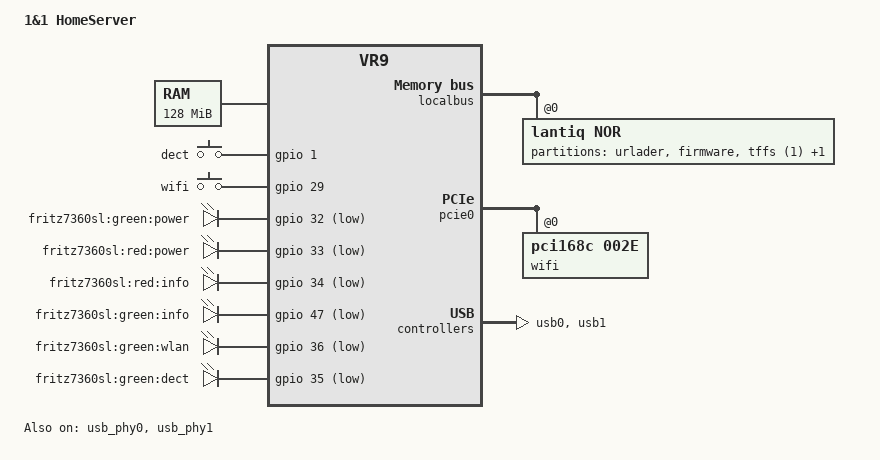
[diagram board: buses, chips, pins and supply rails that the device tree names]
/dts-v1/;

#include "vr9.dtsi"

#include <dt-bindings/input/input.h>
#include <dt-bindings/mips/lantiq_rcu_gphy.h>

/ {
	compatible = "avm,fritz7360sl", "lantiq,xway", "lantiq,vr9";
	model = "1&1 HomeServer";

	chosen {
		bootargs = "console=ttyLTQ0,115200";
	};

	aliases {
		led-boot = &power_green;
		led-failsafe = &power_red;
		led-running = &power_green;
		led-upgrade = &power_green;

		led-dsl = &info_green;
		led-wifi = &wifi;
	};

	memory@0 {
		reg = <0x0 0x8000000>;
	};

	gpio-keys-polled {
		compatible = "gpio-keys-polled";
		#address-cells = <1>;
		#size-cells = <0>;
		poll-interval = <100>;
		dect {
			label = "dect";
			gpios = <&gpio 1 GPIO_ACTIVE_HIGH>;
			linux,code = <KEY_PHONE>;
		};
		wifi {
			label = "wifi";
			gpios = <&gpio 29 GPIO_ACTIVE_HIGH>;
			linux,code = <KEY_WLAN>;
		};
	};

	gpio-leds {
		compatible = "gpio-leds";

		power_green: power {
			label = "fritz7360sl:green:power";
			gpios = <&gpio 32 GPIO_ACTIVE_LOW>;
			default-state = "keep";
		};
		power_red: power2 {
			label = "fritz7360sl:red:power";
			gpios = <&gpio 33 GPIO_ACTIVE_LOW>;
		};
		info_red {
			label = "fritz7360sl:red:info";
			gpios = <&gpio 34 GPIO_ACTIVE_LOW>;
		};
		info_green: info_green {
			label = "fritz7360sl:green:info";
			gpios = <&gpio 47 GPIO_ACTIVE_LOW>;
		};
		wifi: wifi {
			label = "fritz7360sl:green:wlan";
			gpios = <&gpio 36 GPIO_ACTIVE_LOW>;
		};
		dect {
			label = "fritz7360sl:green:dect";
			gpios = <&gpio 35 GPIO_ACTIVE_LOW>;
		};
	};
};

&gpio {
	pinctrl-names = "default";
	pinctrl-0 = <&state_default>;

	state_default: pinmux {
		mdio {
			lantiq,groups = "mdio";
			lantiq,function = "mdio";
		};
		phy-rst {
			lantiq,pins = "io37", "io44";
			lantiq,pull = <0>;
			lantiq,open-drain;
			lantiq,output = <1>;
		};
		pcie-rst {
			lantiq,pins = "io38";
			lantiq,pull = <0>;
			lantiq,output = <1>;
		};
	};
};

&localbus {
	nor@0 {
		compatible = "lantiq,nor";
		bank-width = <2>;
		reg = <0 0x0 0x1000000>;
		#address-cells = <1>;
		#size-cells = <1>;

		partitions {
			compatible = "fixed-partitions";
			#address-cells = <1>;
			#size-cells = <1>;
			urlader: partition@0 {
				label = "urlader";
				reg = <0x00000 0x20000>;
				read-only;
			};

			partition@20000 {
				label = "firmware";
				reg = <0x20000 0xf60000>;
			};

			partition@f80000 {
				label = "tffs (1)";
				reg = <0xf80000 0x40000>;
				read-only;
			};

			partition@fc0000 {
				label = "tffs (2)";
				reg = <0xfc0000 0x40000>;
				read-only;
			};
		};
	};
};

&pcie0 {
	pcie@0 {
		reg = <0 0 0 0 0>;
		#interrupt-cells = <1>;
		#size-cells = <2>;
		#address-cells = <3>;
		device_type = "pci";

		wifi@168c,002e {
			compatible = "pci168c,002e";
			reg = <0 0 0 0 0>;
			qca,no-eeprom; /* load from ath9k-eeprom-pci-0000:01:00.0.bin */
		};
	};
};

&usb_phy0 {
	status = "okay";
};

&usb_phy1 {
	status = "okay";
};

&usb0 {
	status = "okay";
};

&usb1 {
	status = "okay";
};
